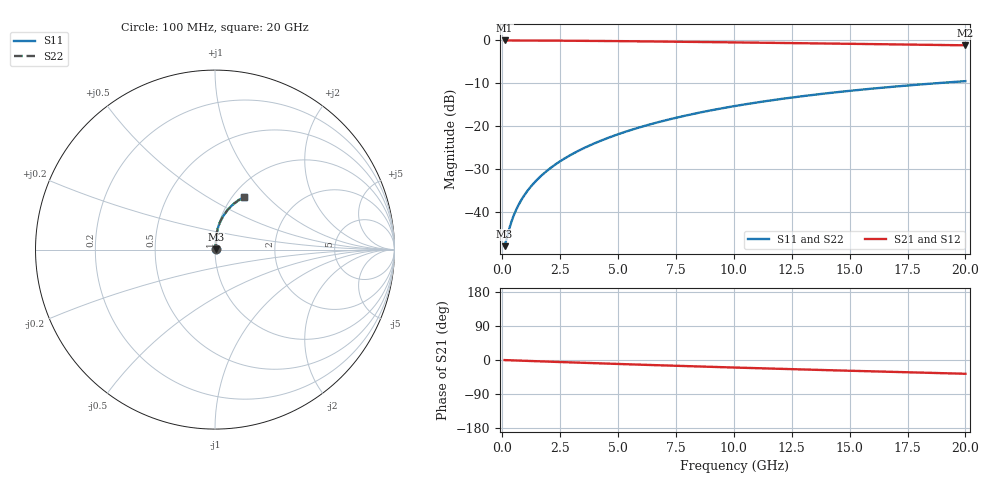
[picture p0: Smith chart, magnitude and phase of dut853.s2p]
! Touchstone file exported from HFSS 2024.1.0
!  File:  C:/UserFiles/LocalFiles/RDL_TSV_Batchsim/temp_RDL_bottom_853_1779864260.aedt
!  Generated:  02:46:46 PM May 27, 2026
!  Design:  RDL_bottom
!  Project:  temp_RDL_bottom_853_1779864260
!  Setup:  Setup1
!  Solution:  Sweep
! Variables:
!  dtsv = 10.80580581um
!  hbump = 3um
!  htsv = 70.53um
!  ldown = 501.92um
!  lrdl = 100um
!  p = 40
!  p1 = 48.66um
!  rhole = 1um
!  t = 450um
!  tdown = 2.34um
!  trdl = 3.915915916um
!  wdown = 23.28um
!  wrdl = 20um
# GHz S MA R 50.000000
! Terminal data exported
! Port[1] = RDL1_T1
! Port[2] = RDL1_T2
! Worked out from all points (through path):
!   200 points, 100 MHz to 20 GHz, reference 50 ohm
!   highest |S21| = -0.03 dB at 100 MHz (marker M1); lowest = -1.2 dB at 20 GHz (marker M2)
!   group delay of S21, straight-line fit = 5.01 ps
!   lowest |S11| = -48.0 dB at 100 MHz (marker M3), VSWR 1.01, Z = 50.4 + j0.174 ohm
!   |S11| at or under -10 dB: start of sweep to 18.77 GHz
!   |S22| runs from -48.0 to -9.5 dB; largest |S21 - S12| = 3e-15
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0.1  0.00397 25.7  0.9964 -0.2  0.9964 -0.2  0.00397 25.7
! Gamma 0 0 0 0
! Port Impedance 50 0 50 0
0.3  0.006332 52.9  0.9961 -0.7  0.9961 -0.7  0.006332 52.9
0.4  0.00773 59.1  0.9959 -0.9  0.9959 -0.9  0.00773 59.1
0.5  0.009149 63.3  0.9957 -1.1  0.9957 -1.1  0.009149 63.3
0.6  0.01057 66.4  0.9955 -1.3  0.9955 -1.3  0.01057 66.4
0.7  0.01199 68.8  0.9953 -1.5  0.9953 -1.5  0.01199 68.8
0.9  0.01485 72.4  0.9949 -2.0  0.9949 -2.0  0.01485 72.4
1.2  0.01919 76.0  0.9943 -2.6  0.9943 -2.6  0.01919 76.0
1.7  0.0266 79.6  0.9931 -3.7  0.9931 -3.7  0.0266 79.6
2.2  0.03421 81.7  0.9917 -4.7  0.9917 -4.7  0.03421 81.7
2.8  0.0436 83.2  0.9896 -6.0  0.9896 -6.0  0.04361 83.2
3.5  0.0549 84.1  0.9867 -7.4  0.9867 -7.4  0.0549 84.1
4.2  0.06654 84.4  0.9833 -8.9  0.9833 -8.9  0.06654 84.4
5  0.08023 84.3  0.979 -10.5  0.979 -10.5  0.08023 84.3
5.9  0.09604 83.8  0.9737 -12.2  0.9737 -12.2  0.09604 83.8
6.8  0.1122 82.9  0.9681 -14.0  0.9681 -14.0  0.1122 82.9
8.4  0.1413 80.8  0.9575 -17.0  0.9575 -17.0  0.1413 80.8
10.1  0.1722 78.1  0.9458 -20.0  0.9458 -20.0  0.1723 78.1
11.7  0.2009 75.4  0.9345 -22.8  0.9345 -22.8  0.2009 75.4
13.4  0.2306 72.4  0.9223 -25.7  0.9223 -25.7  0.2306 72.4
16.7  0.2848 66.7  0.8985 -31.1  0.8985 -31.1  0.2848 66.7
20  0.334 61.1  0.8745 -36.3  0.8745 -36.3  0.334 61.1
